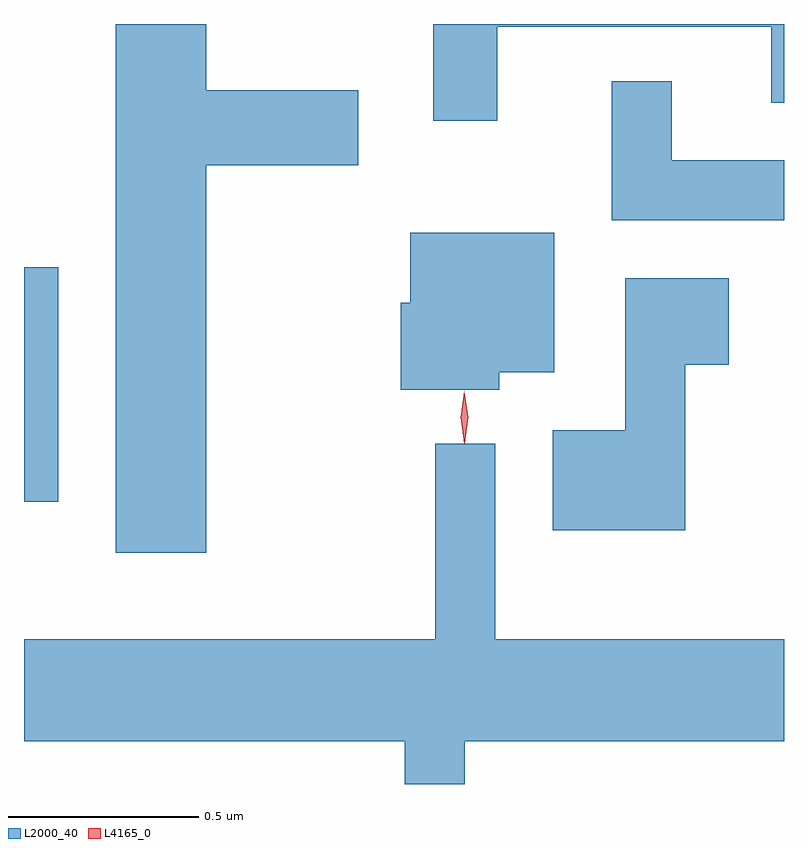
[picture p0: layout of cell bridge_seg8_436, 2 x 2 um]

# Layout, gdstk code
import gdstk
lib = gdstk.Library(unit=1e-6, precision=1e-09)
def R(c, l, rs):  # rectangles x0, y0, x1, y1
    for r in rs: c.add(gdstk.rectangle(r[:2], r[2:], *l))
def P(c, l, *ps):  # polygons
    for p in ps: c.add(gdstk.Polygon(p, *l))
L2000_40 = (2000, 40)
L4165_0 = (4165, 0)

bridge_seg8_436 = lib.new_cell('bridge_seg8_436')
R(bridge_seg8_436, L2000_40, [(897.664,1810.406,897.754,1811.023)])
P(bridge_seg8_436, L2000_40, [(898.909,1811.656),(899.631,1811.656),(899.631,1811.456),(899.664,1811.456),(899.664,1811.663),(898.741,1811.663),(898.741,1811.408),(898.909,1811.408)],
  [(898.144,1811.291),(898.544,1811.291),(898.544,1811.489),(898.144,1811.489),(898.144,1811.663),(897.906,1811.663),(897.906,1810.271),(898.144,1810.271)],
  [(899.664,1811.304),(899.369,1811.304),(899.369,1811.513),(899.211,1811.513),(899.211,1811.146),(899.664,1811.146)],
  [(898.914,1810.746),(899.059,1810.746),(899.059,1811.114),(898.681,1811.114),(898.681,1810.929),(898.656,1810.929),(898.656,1810.701),(898.914,1810.701)],
  [(899.404,1810.766),(899.519,1810.766),(899.519,1810.994),(899.246,1810.994),(899.246,1810.594),(899.056,1810.594),(899.056,1810.331),(899.404,1810.331)],
  [(898.824,1809.776),(899.664,1809.776),(899.664,1810.044),(898.904,1810.044),(898.904,1810.558),(898.746,1810.558),(898.746,1810.044),(897.664,1810.044),(897.664,1809.776),(898.666,1809.776),(898.666,1809.663),(898.824,1809.663)])
P(bridge_seg8_436, L4165_0, [(898.823,1810.56),(898.823,1810.56),(898.813,1810.628),(898.822,1810.695),(898.822,1810.696),(898.823,1810.695),(898.833,1810.628),(898.824,1810.56)])

lib.write_gds('bridge_seg8_436.gds')
